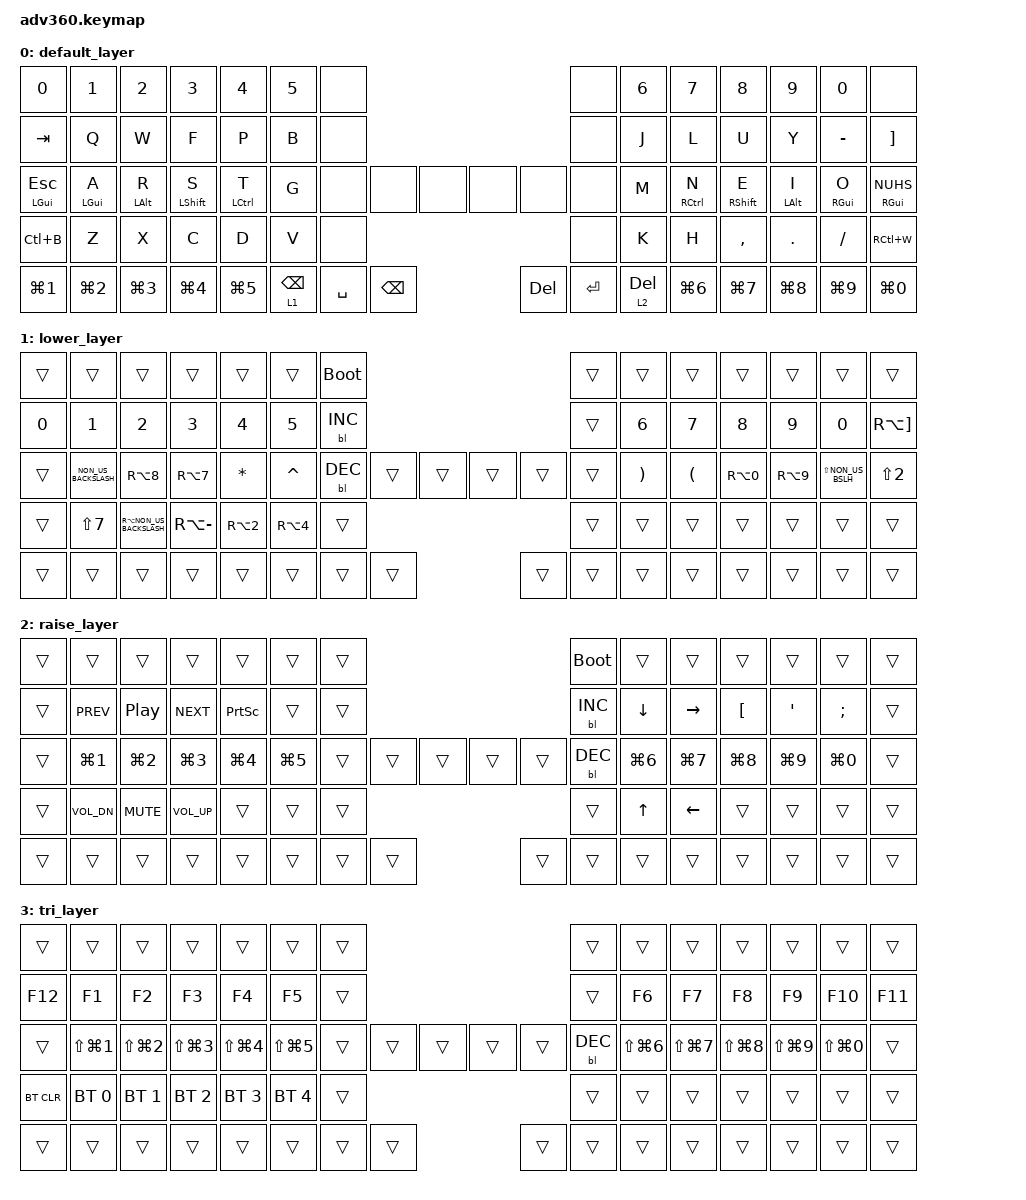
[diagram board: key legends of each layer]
#include <behaviors.dtsi>
#include <dt-bindings/zmk/backlight.h>
#include <dt-bindings/zmk/bt.h>
#include <dt-bindings/zmk/keys.h>
#include <dt-bindings/zmk/rgb.h>

#define FSLASH  LS(N7)
#define RPIPE   RA(NON_US_BACKSLASH)
#define BSLASH  RA(MINUS)
#define LESSTH  NON_US_BACKSLASH
#define LBRACK  RA(N8)
#define LBRACE  RA(N7)
#define LPAREN  ASTERISK
#define AMPERS  CARET
#define EQUALS  RPAR
#define RPAREN  LPAR
#define RBRACK  RA(N0)
#define RBRACE  RA(N9)
#define GRTHAN  LS(NON_US_BSLH)
#define RTILDE  RA(RBKT)
#define AO      LEFT_BRACKET
#define AE      SQT
#define OE      SEMICOLON
#define AT      RA(N2)
#define DOLLAR  RA(N4)

/ {
    behaviors {
        hr: hr {
            compatible = "zmk,behavior-hold-tap";
            label = "HR";
            bindings = <&kp>, <&kp>;

            #binding-cells = <2>;
            tapping-term-ms = <200>;
            quick-tap-ms = <175>;
            flavor = "balanced";
            hold-trigger-key-positions = <0 1 2 3 4 5 6 14 15 16 17 18 19 20 28 29 30 31 32 33 34 35 36 46 47 48 49 50 51 52 60 61 62 63 64 65 66 67 37 38 53 68 69 70>;
            hold-trigger-on-release;
        };

        hl: hl {
            compatible = "zmk,behavior-hold-tap";
            label = "HL";
            bindings = <&kp>, <&kp>;

            #binding-cells = <2>;
            tapping-term-ms = <200>;
            quick-tap-ms = <175>;
            flavor = "balanced";
            hold-trigger-key-positions = <7 8 9 10 11 12 13 21 22 23 24 25 26 27 36 37 38 39 40 41 42 43 44 45 52 53 54 55 56 57 58 59 67 68 69 70 71 72 73 74 75 35 36 52 65 66 67>;
            hold-trigger-on-release;
        };
    };

    keymap {
        compatible = "zmk,keymap";

        default_layer {
            bindings = <
&kp N0      &kp N1      &kp N2      &kp N3      &kp N4      &kp N5      &none                                                       &none       &kp N6      &kp N7      &kp N8      &kp N9      &kp N0      &none
&kp TAB     &kp Q       &kp W       &kp F       &kp P       &kp B       &none                                                       &none       &kp J       &kp L       &kp U       &kp Y       &kp MINUS   &kp RBKT
&hl LGUI ESC &hl LGUI A &hl LALT R  &hl LSHFT S &hl LCTRL T &kp G       &none       &none       &none       &none       &none       &none       &kp M       &hr RCTRL N &hr RSHFT E &hr LALT I  &hr RGUI O  &hr RGUI NUHS
&kp LC(B)   &kp Z       &kp X       &kp C       &kp D       &kp V                               &none       &none                               &kp K       &kp H       &kp COMMA   &kp PERIOD  &kp FSLH    &kp RC(W)
&kp LG(N1)  &kp LG(N2)  &kp LG(N3)  &kp LG(N4)  &kp LG(N5)              &lt 1 BSPC  &kp SPACE   &kp BSPC    &kp DELETE  &kp RET     &lt 2 DELETE            &kp LG(N6)  &kp LG(N7)  &kp LG(N8)  &kp LG(N9)  &kp LG(N0)
            >;
        };

        lower_layer {
            bindings = <
&trans      &trans      &trans      &trans      &trans      &trans      &bootloader                                                 &trans      &trans      &trans      &trans      &trans      &trans      &trans
&kp N0      &kp N1      &kp N2      &kp N3      &kp N4      &kp N5      &bl BL_INC                                                  &trans      &kp N6      &kp N7      &kp N8      &kp N9      &kp N0      &kp RTILDE
&trans      &kp LESSTH  &kp LBRACK  &kp LBRACE  &kp LPAREN  &kp AMPERS  &bl BL_DEC  &trans      &trans      &trans      &trans      &trans      &kp EQUALS  &kp RPAREN  &kp RBRACK  &kp RBRACE  &kp GRTHAN  &kp LS(N2)
&trans      &kp FSLASH  &kp RPIPE   &kp BSLASH  &kp AT      &kp DOLLAR                          &trans      &trans                              &trans      &trans      &trans      &trans      &trans      &trans
&trans      &trans      &trans      &trans      &trans                  &trans      &trans      &trans      &trans      &trans      &trans                  &trans      &trans      &trans      &trans      &trans
            >;
        };

        raise_layer {
            bindings = <
&trans      &trans      &trans      &trans      &trans      &trans      &trans                                                      &bootloader &trans      &trans      &trans      &trans      &trans      &trans
&trans      &kp C_PREV  &kp C_PP    &kp C_NEXT  &kp PSCRN   &trans      &trans                                                      &bl BL_INC  &kp DOWN    &kp RIGHT   &kp AO      &kp AE      &kp OE      &trans
&trans      &kp LG(N1)  &kp LG(N2)  &kp LG(N3)  &kp LG(N4)  &kp LG(N5)  &trans      &trans      &trans      &trans      &trans      &bl BL_DEC  &kp LG(N6)  &kp LG(N7)  &kp LG(N8)  &kp LG(N9)  &kp LG(N0)  &trans
&trans      &kp C_VOL_DN &kp C_MUTE &kp C_VOL_UP &trans     &trans                              &trans      &trans                              &kp UP      &kp LEFT    &trans      &trans      &trans      &trans
&trans      &trans      &trans      &trans      &trans                  &trans      &trans      &trans      &trans      &trans      &trans                  &trans      &trans      &trans      &trans      &trans
            >;
        };

        tri_layer {
            bindings = <
&trans      &trans      &trans      &trans      &trans      &trans      &trans                                                      &trans      &trans      &trans      &trans      &trans      &trans      &trans
&kp F12     &kp F1      &kp F2      &kp F3      &kp F4      &kp F5      &trans                                                      &trans      &kp F6      &kp F7      &kp F8      &kp F9      &kp F10     &kp F11
&trans      &kp LS(LG(N1)) &kp LS(LG(N2)) &kp LS(LG(N3)) &kp LS(LG(N4)) &kp LS(LG(N5))   &trans      &trans      &trans      &trans      &trans      &bl BL_DEC  &kp LS(LG(N6)) &kp LS(LG(N7)) &kp LS(LG(N8)) &kp LS(LG(N9)) &kp LS(LG(N0))  &trans
&bt BT_CLR  &bt BT_SEL 0 &bt BT_SEL 1 &bt BT_SEL 2 &bt BT_SEL 3 &bt BT_SEL 4                    &trans      &trans                              &trans      &trans      &trans      &trans      &trans      &trans
&trans      &trans      &trans      &trans      &trans                  &trans      &trans      &trans      &trans      &trans      &trans                  &trans      &trans      &trans      &trans      &trans
            >;
        };
    };

    conditional_layers {
        compatible = "zmk,conditional-layers";

        tri_layer {
            if-layers = <1 2>;
            then-layer = <3>;
        };
    };
};
